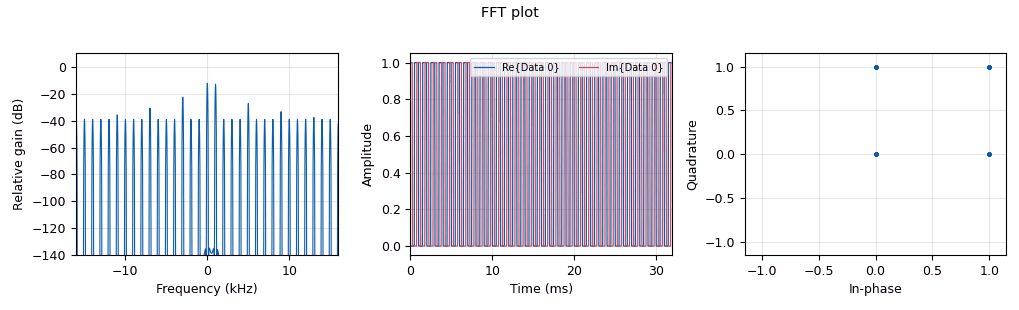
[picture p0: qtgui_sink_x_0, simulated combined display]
options:
  parameters:
    author: Saad
    generate_options: qt_gui
    id: lesson2
    output_language: python
    title: Not titled yet
  states: {}

blocks:
- name: freq
  id: variable_qtgui_range
  parameters:
    start: '-50e3'
    step: '100'
    stop: 50e3
    value: '1000'
  states: {}
- name: samp_rate
  id: variable
  parameters:
    value: '32000'
  states: {}
- name: analog_sig_source_x_0
  id: analog_sig_source_x
  parameters:
    amp: '1'
    freq: freq
    offset: '0'
    phase: '0'
    samp_rate: 32e3
    type: complex
    waveform: analog.GR_SQR_WAVE
  states: {}
- name: blocks_throttle_0
  id: blocks_throttle
  parameters:
    samples_per_second: samp_rate
    type: complex
  states: {}
- name: qtgui_sink_x_0
  id: qtgui_sink_x
  parameters:
    bw: samp_rate
    fc: '0'
    fftsize: '1024'
    name: '"FFT plot"'
    type: complex
  states: {}

connections:
- [analog_sig_source_x_0, '0', blocks_throttle_0, '0']
- [blocks_throttle_0, '0', qtgui_sink_x_0, '0']

metadata:
  file_format: 1
